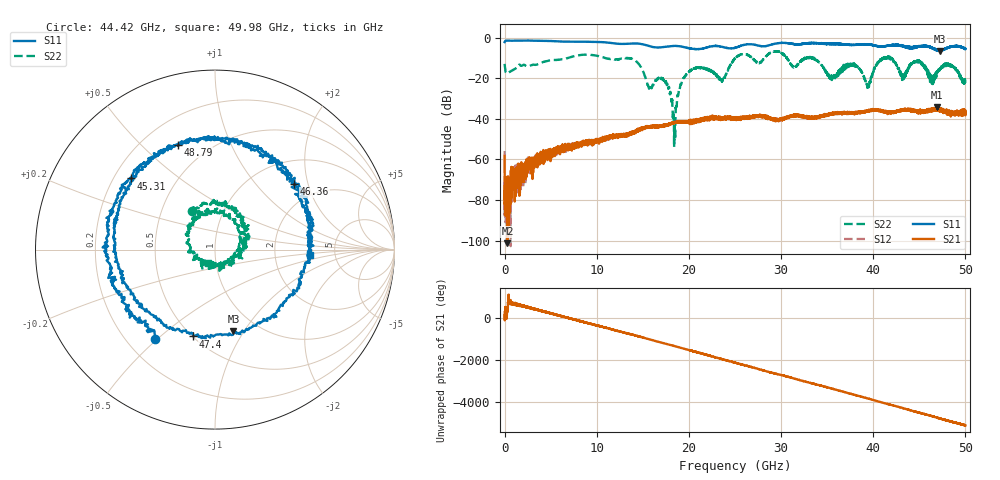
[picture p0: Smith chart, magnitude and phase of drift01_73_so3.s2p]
!Created with skrf (http://scikit-rf.org).
# Hz S RI R 50.0
!freq ReS11 ImS11 ReS21 ImS21 ReS12 ImS12 ReS22 ImS22
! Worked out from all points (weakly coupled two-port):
!   10001 points, 300 kHz to 50 GHz, reference 50 ohm
!   highest |S21| = -34.24 dB at 46.93 GHz (marker M1); lowest = -101.4 dB at 305.3 MHz (marker M2)
!   lowest |S11| = -6.6 dB at 47.21 GHz (marker M3), VSWR 2.75, Z = 38.6 - j45 ohm
!   |S11| at or under -10 dB: nowhere
!   |S22| runs from -54.1 to -6.6 dB; largest |S21 - S12| = 0.0035
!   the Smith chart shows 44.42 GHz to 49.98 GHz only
!   S11 on the Smith chart (normalised r, x): 44.42 GHz: 0.32, -0.49; 45.31 GHz: 0.27, +0.34; 46.36 GHz: 1.51, +1.64; 47.4 GHz: 0.50, -0.65; 48.79 GHz: 0.34, +0.65; 49.98 GHz: 3.23, -0.29
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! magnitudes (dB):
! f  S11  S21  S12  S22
! 300 kHz  -2.2  -58.2  -55.8  -12.9
! 305.3 MHz  -1.4  -101.4  -82.5  -17.5
! 8.335 GHz  -1.9  -51.7  -52.5  -8.5
! 16.67 GHz  -4.8  -43.9  -43.8  -20.0
! 17.68 GHz  -4.4  -42.9  -43.0  -22.8
! 18.45 GHz  -4.1  -41.6  -42.0  -44.8
! 19.97 GHz  -5.2  -41.2  -41.3  -16.9
! 23.63 GHz  -4.5  -39.4  -39.9  -20.7
! 25 GHz  -5.0  -39.5  -39.9  -10.2
! 33.34 GHz  -2.6  -39.1  -39.4  -9.9
! 39.43 GHz  -3.3  -35.9  -36.0  -23.6
! 41.67 GHz  -3.8  -36.7  -36.8  -10.0
! 43.23 GHz  -4.1  -35.2  -35.5  -19.9
! 44.42 GHz  -4.5  -36.3  -36.5  -12.0
! 45.31 GHz  -4.3  -36.6  -36.4  -12.6
! 46.36 GHz  -4.8  -36.5  -35.9  -20.5
! 46.93 GHz  -6.2  -34.2  -35.5  -16.7
! 47.21 GHz  -6.6  -35.0  -34.8  -15.6
! 47.4 GHz  -6.0  -36.2  -35.6  -14.5
! 48.79 GHz  -4.1  -36.9  -36.7  -14.4
! 49.98 GHz  -5.5  -36.1  -36.5  -21.6
! 50 GHz  -5.5  -37.0  -36.4  -21.9
